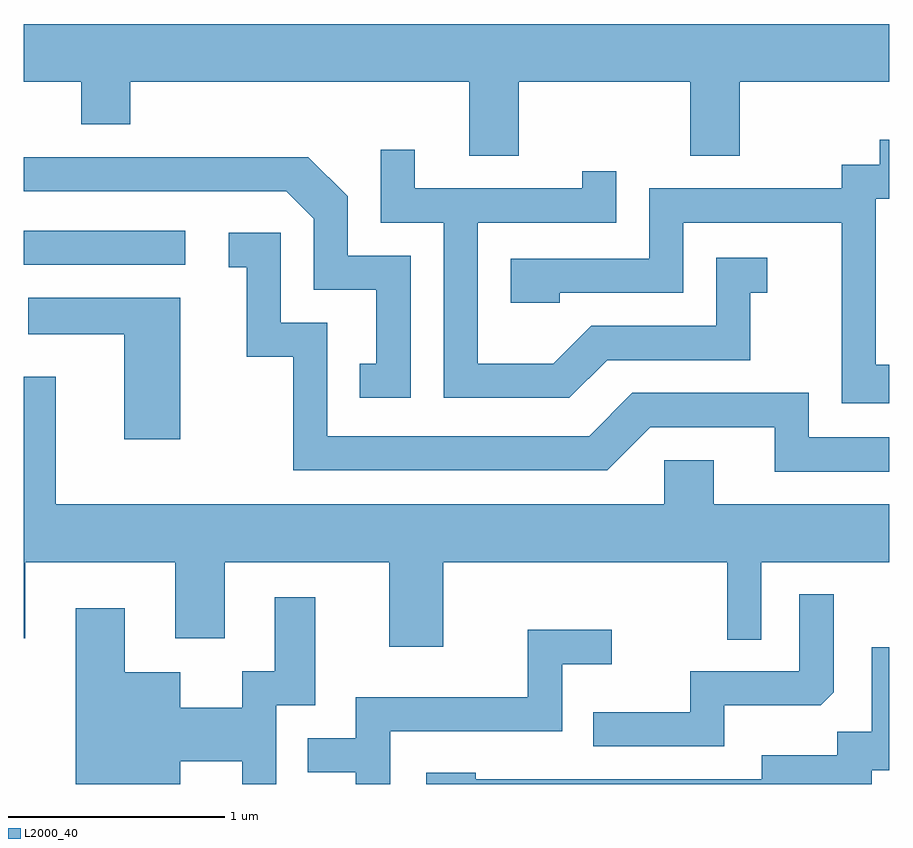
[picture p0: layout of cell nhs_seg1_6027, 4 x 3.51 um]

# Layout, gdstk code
import gdstk
lib = gdstk.Library(unit=1e-6, precision=1e-09)
def R(c, l, rs):  # rectangles x0, y0, x1, y1
    for r in rs: c.add(gdstk.rectangle(r[:2], r[2:], *l))
def P(c, l, *ps):  # polygons
    for p in ps: c.add(gdstk.Polygon(p, *l))
L2000_40 = (2000, 40)

nhs_seg1_6027 = lib.new_cell('nhs_seg1_6027')
R(nhs_seg1_6027, L2000_40, [(367.611,852.111,368.358,852.269)])
P(nhs_seg1_6027, L2000_40, [(369.899,852.956),(370.691,852.956),(370.691,852.616),(370.919,852.616),(370.919,852.956),(371.611,852.956),(371.611,853.224),(367.611,853.224),(367.611,852.956),(367.876,852.956),(367.876,852.761),(368.104,852.761),(368.104,852.956),(369.671,852.956),(369.671,852.616),(369.899,852.616)],
  [(371.611,851.649),(371.549,851.649),(371.549,852.416),(371.611,852.416),(371.611,852.688),(371.566,852.688),(371.566,852.574),(371.391,852.574),(371.391,852.464),(370.501,852.464),(370.501,852.139),(369.861,852.139),(369.861,851.936),(370.089,851.936),(370.089,851.981),(370.659,851.981),(370.659,852.306),(371.391,852.306),(371.391,851.471),(371.611,851.471)],
  [(370.307,851.671),(370.969,851.671),(370.969,851.981),(371.048,851.981),(371.048,852.144),(370.811,852.144),(370.811,851.829),(370.234,851.829),(370.059,851.654),(369.709,851.654),(369.709,852.306),(370.349,852.306),(370.349,852.543),(370.191,852.543),(370.191,852.464),(369.419,852.464),(369.419,852.643),(369.261,852.643),(369.261,852.306),(369.551,852.306),(369.551,851.496),(370.132,851.496)],
  [(369.399,852.154),(369.109,852.154),(369.109,852.427),(368.927,852.609),(367.611,852.609),(367.611,852.451),(368.824,852.451),(368.951,852.324),(368.951,851.996),(369.241,851.996),(369.241,851.654),(369.163,851.654),(369.163,851.496),(369.399,851.496)],
  [(371.611,851.314),(371.239,851.314),(371.239,851.519),(370.424,851.519),(370.224,851.319),(369.014,851.319),(369.014,851.844),(368.799,851.844),(368.799,852.259),(368.558,852.259),(368.558,852.101),(368.641,852.101),(368.641,851.686),(368.856,851.686),(368.856,851.161),(370.307,851.161),(370.507,851.361),(371.081,851.361),(371.081,851.156),(371.611,851.156)],
  [(368.334,851.959),(367.633,851.959),(367.633,851.791),(368.076,851.791),(368.076,851.306),(368.334,851.306)],
  [(369.549,850.736),(370.861,850.736),(370.861,850.378),(371.019,850.378),(371.019,850.736),(371.611,850.736),(371.611,851.004),(370.799,851.004),(370.799,851.209),(370.571,851.209),(370.571,851.004),(367.759,851.004),(367.759,851.594),(367.611,851.594),(367.611,850.386),(367.619,850.386),(367.619,850.736),(368.311,850.736),(368.311,850.386),(368.539,850.386),(368.539,850.736),(369.301,850.736),(369.301,850.346),(369.549,850.346)],
  [(370.849,850.076),(371.294,850.076),(371.354,850.137),(371.354,850.588),(371.196,850.588),(371.196,850.234),(370.691,850.234),(370.691,850.044),(370.243,850.044),(370.243,849.886),(370.849,849.886)],
  [(368.334,849.816),(368.621,849.816),(368.621,849.712),(368.779,849.712),(368.779,850.076),(368.959,850.076),(368.959,850.574),(368.771,850.574),(368.771,850.234),(368.621,850.234),(368.621,850.064),(368.334,850.064),(368.334,850.229),(368.079,850.229),(368.079,850.524),(367.851,850.524),(367.851,849.712),(368.334,849.712)],
  [(369.304,849.956),(370.099,849.956),(370.099,850.266),(370.328,850.266),(370.328,850.424),(369.941,850.424),(369.941,850.114),(369.146,850.114),(369.146,849.924),(368.923,849.924),(368.923,849.766),(369.146,849.766),(369.146,849.712),(369.304,849.712)],
  [(371.529,849.776),(371.611,849.776),(371.611,850.343),(371.531,850.343),(371.531,849.954),(371.371,849.954),(371.371,849.844),(371.021,849.844),(371.021,849.734),(369.699,849.734),(369.699,849.764),(369.471,849.764),(369.471,849.712),(371.529,849.712)])

lib.write_gds('nhs_seg1_6027.gds')
